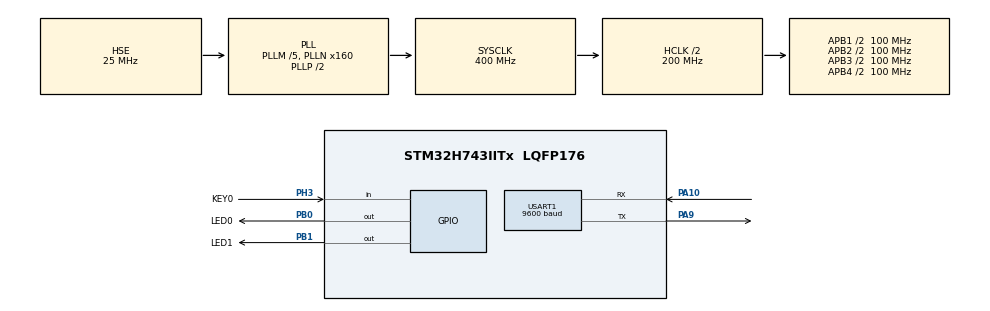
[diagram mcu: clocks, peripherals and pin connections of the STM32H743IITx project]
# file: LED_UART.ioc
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CORTEX_M7.default_mode_Activation=1
Mcu.Family=STM32H7
Mcu.Name=STM32H743IITx
Mcu.Package=LQFP176
NVIC.PriorityGroup=NVIC_PRIORITYGROUP_4
PA10.Mode=Asynchronous
PA10.Signal=USART1_RX
PA9.Mode=Asynchronous
PA9.Signal=USART1_TX
PB0.GPIO_Label=LED0
PB0.GPIO_ModeDefaultOutputPP=GPIO_MODE_OUTPUT_PP
PB0.GPIO_PuPd=GPIO_PULLDOWN
PB0.Signal=GPIO_Output
PB1.GPIO_Label=LED1
PB1.GPIO_ModeDefaultOutputPP=GPIO_MODE_OUTPUT_PP
PB1.GPIO_PuPd=GPIO_PULLDOWN
PB1.Signal=GPIO_Output
PH0-OSC_IN\ (PH0).Mode=HSE-External-Oscillator
PH0-OSC_IN\ (PH0).Signal=RCC_OSC_IN
PH1-OSC_OUT\ (PH1).Mode=HSE-External-Oscillator
PH1-OSC_OUT\ (PH1).Signal=RCC_OSC_OUT
PH3.GPIO_Label=KEY0
PH3.GPIO_PuPd=GPIO_PULLUP
PH3.Signal=GPIO_Input
ProjectManager.HeapSize=0x200
ProjectManager.StackSize=0x400
ProjectManager.TargetToolchain=MDK-ARM V5.32
RCC.ADCFreq_Value=50390625
RCC.APB1Freq_Value=100000000
RCC.APB2Freq_Value=100000000
RCC.APB3Freq_Value=100000000
RCC.APB4Freq_Value=100000000
RCC.CortexFreq_Value=400000000
RCC.D1PPRE=RCC_APB3_DIV2
RCC.D2PPRE1=RCC_APB1_DIV2
RCC.D2PPRE2=RCC_APB2_DIV2
RCC.D3PPRE=RCC_APB4_DIV2
RCC.DIVM1=5
RCC.DIVN1=160
RCC.HCLKFreq_Value=200000000
RCC.HPRE=RCC_HCLK_DIV2
RCC.PLLSourceVirtual=RCC_PLLSOURCE_HSE
RCC.SYSCLKFreq_VALUE=400000000
RCC.SYSCLKSource=RCC_SYSCLKSOURCE_PLLCLK
RCC.USBFreq_Value=400000000
USART1.BaudRate=9600
USART1.VirtualMode-Asynchronous=VM_ASYNC
VP_CRC_VS_CRC.Mode=CRC_Activate
board=custom

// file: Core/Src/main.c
/* USER CODE BEGIN Header */
/**
  ******************************************************************************
  * @file           : main.c
  * @brief          : Main program body
  ******************************************************************************
  * @attention
  *
  * Copyright (c) 2022 STMicroelectronics.
  * All rights reserved.
  *
  * This software is licensed under terms that can be found in the LICENSE file
  * in the root directory of this software component.
  * If no LICENSE file comes with this software, it is provided AS-IS.
  *
  ******************************************************************************
  */
/* USER CODE END Header */
#include "main.h"
#include "crc.h"
#include "usart.h"
#include "gpio.h"

/* USER CODE BEGIN Includes */
#include "stdio.h"
#include "key.h"
#include "common.h"
#include "flash_if.h"
#include "menu.h"
#include "ymodem.h"
/* USER CODE END Includes */

/* USER CODE BEGIN PTD */
//#if defined (__ICCARM__)  /* IAR */

//#pragma location = ".NoInit"
//uint32_t g_JumpInit;

//#elif defined(__CC_ARM)   /* MDK AC5 */

//uint32_t g_JumpInit __attribute__((at(0x20000000), zero_init));
//
//#elif  (defined (__ARMCC_VERSION) && (__ARMCC_VERSION >= 6010050)) /* MDK AC6 */

//uint32_t g_JumpInit __attribute__( ( section( ".bss.NoInit")));

//#elif  defined(__GNUC__)      /* GCC */

//__attribute__((section( ".NoInit"))) uint32_t g_JumpInit;

//#endif

/* USER CODE END PTD */

/* USER CODE BEGIN PM */
static void JumpToApp(void);
int fputc(int ch, FILE *f)
{
	while((USART1->ISR&0X40)==0);
	USART1->TDR=(uint8_t)ch;
	return ch;
}
/* USER CODE END PM */

void SystemClock_Config(void);
static void MPU_Config(void);

int main(void)
{
  /* USER CODE BEGIN 1 */
	//JumpToApp();
//	if (g_JumpInit == 0xAA553344)	        /* 软件复位后再进入APP，提供一个干净的CPU环境给APP */
//	{
//		JumpToApp();	                    /* 去执行APP程序 */
//	}
  /* USER CODE END 1 */

  /* MPU Configuration--------------------------------------------------------*/
  MPU_Config();

  /* MCU Configuration--------------------------------------------------------*/

  /* Reset of all peripherals, Initializes the Flash interface and the Systick. */
  HAL_Init();

  /* Configure the system clock */
  SystemClock_Config();

  /* Initialize all configured peripherals */
  MX_GPIO_Init();
  MX_USART1_UART_Init();
  MX_CRC_Init();
  /* USER CODE BEGIN 2 */
	KEY_Init();
	printf("hello stm32H7\r\n");
  printf("I like this!!\r\n");
	printf("I am in bootloader mode!!!!\r\n");
	Main_Menu();
  //HAL_GPIO_WritePin(LED0_GPIO_Port,LED0_Pin,GPIO_PIN_SET);
  /* USER CODE END 2 */

  /* Infinite loop */
  while (1)
  {

  }
}

void SystemClock_Config(void)
{
  RCC_OscInitTypeDef RCC_OscInitStruct = {0};
  RCC_ClkInitTypeDef RCC_ClkInitStruct = {0};

  /** Supply configuration update enable
  */
  HAL_PWREx_ConfigSupply(PWR_LDO_SUPPLY);

  /** Configure the main internal regulator output voltage
  */
  __HAL_PWR_VOLTAGESCALING_CONFIG(PWR_REGULATOR_VOLTAGE_SCALE1);

  while(!__HAL_PWR_GET_FLAG(PWR_FLAG_VOSRDY)) {}

  /** Initializes the RCC Oscillators according to the specified parameters
  * in the RCC_OscInitTypeDef structure.
  */
  RCC_OscInitStruct.OscillatorType = RCC_OSCILLATORTYPE_HSE;
  RCC_OscInitStruct.HSEState = RCC_HSE_ON;
  RCC_OscInitStruct.PLL.PLLState = RCC_PLL_ON;
  RCC_OscInitStruct.PLL.PLLSource = RCC_PLLSOURCE_HSE;
  RCC_OscInitStruct.PLL.PLLM = 5;
  RCC_OscInitStruct.PLL.PLLN = 160;
  RCC_OscInitStruct.PLL.PLLP = 2;
  RCC_OscInitStruct.PLL.PLLQ = 2;
  RCC_OscInitStruct.PLL.PLLR = 2;
  RCC_OscInitStruct.PLL.PLLRGE = RCC_PLL1VCIRANGE_2;
  RCC_OscInitStruct.PLL.PLLVCOSEL = RCC_PLL1VCOWIDE;
  RCC_OscInitStruct.PLL.PLLFRACN = 0;
  if (HAL_RCC_OscConfig(&RCC_OscInitStruct) != HAL_OK)
  {
    Error_Handler();
  }

  /** Initializes the CPU, AHB and APB buses clocks
  */
  RCC_ClkInitStruct.ClockType = RCC_CLOCKTYPE_HCLK|RCC_CLOCKTYPE_SYSCLK
                              |RCC_CLOCKTYPE_PCLK1|RCC_CLOCKTYPE_PCLK2
                              |RCC_CLOCKTYPE_D3PCLK1|RCC_CLOCKTYPE_D1PCLK1;
  RCC_ClkInitStruct.SYSCLKSource = RCC_SYSCLKSOURCE_PLLCLK;
  RCC_ClkInitStruct.SYSCLKDivider = RCC_SYSCLK_DIV1;
  RCC_ClkInitStruct.AHBCLKDivider = RCC_HCLK_DIV2;
  RCC_ClkInitStruct.APB3CLKDivider = RCC_APB3_DIV2;
  RCC_ClkInitStruct.APB1CLKDivider = RCC_APB1_DIV2;
  RCC_ClkInitStruct.APB2CLKDivider = RCC_APB2_DIV2;
  RCC_ClkInitStruct.APB4CLKDivider = RCC_APB4_DIV2;

  if (HAL_RCC_ClockConfig(&RCC_ClkInitStruct, FLASH_LATENCY_2) != HAL_OK)
  {
    Error_Handler();
  }
}

/* USER CODE BEGIN 4 */
//static void JumpToApp(void)
//{

//	void (*SysMemBootJump)(void);        /* 声明一个函数指针 */
//	__IO uint32_t BootAddr = 0x8020000; /* STM32H7的系统BootLoader地址 */

//	g_JumpInit = 0xAA553344;

//	/* 跳转到系统BootLoader，首地址是MSP，地址+4是复位中断服务程序地址 */
//	SysMemBootJump = (void (*)(void)) (*((uint32_t *) (BootAddr + 4)));

//	/* 设置主堆栈指针 */
//	__set_MSP(*(uint32_t *)BootAddr);
//

//	/* 跳转到系统BootLoader */
//	SysMemBootJump();
//
//	/* 跳转成功的话，不会执行到这里，用户可以在这里添加代码 */
//	while (1)
//	{
//
//	}
//}
/* USER CODE END 4 */

/* MPU Configuration */

void MPU_Config(void)
{
  MPU_Region_InitTypeDef MPU_InitStruct = {0};

  /* Disables the MPU */
  HAL_MPU_Disable();

  /** Initializes and configures the Region and the memory to be protected
  */
  MPU_InitStruct.Enable = MPU_REGION_ENABLE;
  MPU_InitStruct.Number = MPU_REGION_NUMBER0;
  MPU_InitStruct.BaseAddress = 0x0;
  MPU_InitStruct.Size = MPU_REGION_SIZE_4GB;
  MPU_InitStruct.SubRegionDisable = 0x87;
  MPU_InitStruct.TypeExtField = MPU_TEX_LEVEL0;
  MPU_InitStruct.AccessPermission = MPU_REGION_NO_ACCESS;
  MPU_InitStruct.DisableExec = MPU_INSTRUCTION_ACCESS_DISABLE;
  MPU_InitStruct.IsShareable = MPU_ACCESS_SHAREABLE;
  MPU_InitStruct.IsCacheable = MPU_ACCESS_NOT_CACHEABLE;
  MPU_InitStruct.IsBufferable = MPU_ACCESS_NOT_BUFFERABLE;

  HAL_MPU_ConfigRegion(&MPU_InitStruct);
  /* Enables the MPU */
  HAL_MPU_Enable(MPU_PRIVILEGED_DEFAULT);

}

void Error_Handler(void)
{
  __disable_irq();
  while (1)
  {
  }
}
